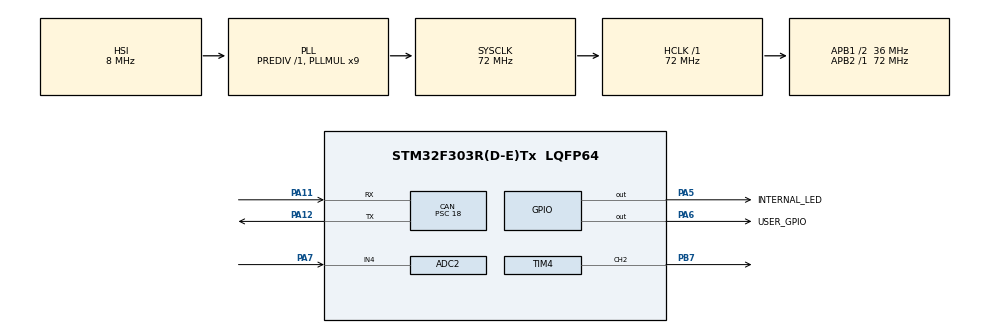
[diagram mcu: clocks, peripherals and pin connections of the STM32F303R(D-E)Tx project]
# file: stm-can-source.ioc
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ADC1.Channel-1\#ChannelRegularConversion=ADC_CHANNEL_TEMPSENSOR
ADC1.Channel-3\#ChannelRegularConversion=ADC_CHANNEL_VREFINT
ADC1.ContinuousConvMode=ENABLE
ADC1.DMAContinuousRequests=ENABLE
ADC1.EnableRegularConversion=ENABLE
ADC1.ExternalTrigConv=ADC_SOFTWARE_START
ADC1.InjNumberOfConversion=0
ADC1.NbrOfConversion=2
ADC1.NbrOfConversionFlag=1
ADC1.Offset-1\#ChannelRegularConversion=0
ADC1.Offset-3\#ChannelRegularConversion=0
ADC1.OffsetNumber-1\#ChannelRegularConversion=ADC_OFFSET_NONE
ADC1.OffsetNumber-3\#ChannelRegularConversion=ADC_OFFSET_NONE
ADC1.Rank-1\#ChannelRegularConversion=1
ADC1.Rank-3\#ChannelRegularConversion=2
ADC1.SamplingTime-1\#ChannelRegularConversion=ADC_SAMPLETIME_601CYCLES_5
ADC1.SamplingTime-3\#ChannelRegularConversion=ADC_SAMPLETIME_601CYCLES_5
ADC1.master=1
ADC2.Channel-0\#ChannelRegularConversion=ADC_CHANNEL_4
ADC2.ContinuousConvMode=ENABLE
ADC2.DMAContinuousRequests=ENABLE
ADC2.NbrOfConversionFlag=1
ADC2.Offset-0\#ChannelRegularConversion=0
ADC2.OffsetNumber-0\#ChannelRegularConversion=ADC_OFFSET_NONE
ADC2.Rank-0\#ChannelRegularConversion=1
ADC2.SamplingTime-0\#ChannelRegularConversion=ADC_SAMPLETIME_601CYCLES_5
ADC2.SamplingTimeOPAMP-0\#ChannelRegularConversion=ADC_SAMPLETIME_61CYCLES_5
CAN.BS1=CAN_BS1_2TQ
CAN.CalculateBaudRate=500000
CAN.CalculateTimeBit=2000
CAN.CalculateTimeQuantum=500.0
CAN.Mode=CAN_MODE_NORMAL
CAN.NART=DISABLE
CAN.Prescaler=18
Dma.ADC1.0.Direction=DMA_PERIPH_TO_MEMORY
Dma.ADC1.0.Instance=DMA1_Channel1
Dma.ADC1.0.MemDataAlignment=DMA_MDATAALIGN_HALFWORD
Dma.ADC1.0.MemInc=DMA_MINC_ENABLE
Dma.ADC1.0.Mode=DMA_CIRCULAR
Dma.ADC1.0.PeriphDataAlignment=DMA_PDATAALIGN_HALFWORD
Dma.ADC1.0.PeriphInc=DMA_PINC_DISABLE
Dma.ADC1.0.Priority=DMA_PRIORITY_LOW
Dma.ADC2.1.Direction=DMA_PERIPH_TO_MEMORY
Dma.ADC2.1.Instance=DMA2_Channel1
Dma.ADC2.1.MemDataAlignment=DMA_MDATAALIGN_HALFWORD
Dma.ADC2.1.MemInc=DMA_MINC_ENABLE
Dma.ADC2.1.Mode=DMA_CIRCULAR
Dma.ADC2.1.PeriphDataAlignment=DMA_PDATAALIGN_HALFWORD
Dma.ADC2.1.PeriphInc=DMA_PINC_DISABLE
Dma.ADC2.1.Priority=DMA_PRIORITY_LOW
Dma.Request0=ADC1
Dma.Request1=ADC2
Mcu.Family=STM32F3
Mcu.Name=STM32F303R(D-E)Tx
Mcu.Package=LQFP64
NVIC.ADC1_2_IRQn=true\:2\:0\:true\:false\:true\:true\:true\:true
NVIC.CAN_RX1_IRQn=true\:0\:0\:true\:false\:true\:true\:true\:true
NVIC.CAN_SCE_IRQn=true\:0\:0\:false\:false\:true\:true\:true\:true
NVIC.DMA1_Channel1_IRQn=true\:0\:0\:false\:false\:true\:false\:true\:true
NVIC.DMA2_Channel1_IRQn=true\:0\:0\:false\:false\:true\:false\:true\:true
NVIC.PriorityGroup=NVIC_PRIORITYGROUP_4
NVIC.TIM1_UP_TIM16_IRQn=true\:0\:0\:true\:false\:true\:true\:true\:true
NVIC.USB_LP_CAN_RX0_IRQn=true\:0\:0\:false\:false\:true\:true\:true\:true
PA11.GPIO_PuPd=GPIO_NOPULL
PA11.Mode=CAN_Activate
PA11.Signal=CAN_RX
PA12.GPIO_PuPd=GPIO_NOPULL
PA12.Mode=CAN_Activate
PA12.Signal=CAN_TX
PA13.Mode=Serial_Wire
PA13.Signal=SYS_JTMS-SWDIO
PA14.Mode=Serial_Wire
PA14.Signal=SYS_JTCK-SWCLK
PA5.GPIO_Label=INTERNAL_LED
PA5.Signal=GPIO_Output
PA6.GPIO_Label=USER_GPIO
PA6.Signal=GPIO_Output
PA7.Mode=IN4-Single-Ended
PA7.Signal=ADC2_IN4
PB7.GPIO_FM7=__NULL
PB7.Signal=S_TIM4_CH2
ProjectManager.HeapSize=0x200
ProjectManager.StackSize=0x400
ProjectManager.TargetToolchain=STM32CubeIDE
RCC.AHBFreq_Value=72000000
RCC.APB1CLKDivider=RCC_HCLK_DIV2
RCC.APB1Freq_Value=36000000
RCC.APB1TimFreq_Value=72000000
RCC.APB2Freq_Value=72000000
RCC.APB2TimFreq_Value=72000000
RCC.CortexFreq_Value=72000000
RCC.HCLKFreq_Value=72000000
RCC.HSE_VALUE=8000000
RCC.HSI_VALUE=8000000
RCC.LSE_VALUE=32768
RCC.PLLMUL=RCC_PLL_MUL9
RCC.SYSCLKFreq_VALUE=72000000
RCC.SYSCLKSourceVirtual=RCC_SYSCLKSOURCE_PLLCLK
RCC.USBFreq_Value=72000000
SH.S_TIM4_CH2.0=TIM4_CH2,PWM Generation2 CH2
TIM16.Period=6000-1
TIM16.Prescaler=3000-1
TIM3.Prescaler=72-1
TIM3.TIM_MasterOutputTrigger=TIM_TRGO_UPDATE
TIM4.Channel-PWM\ Generation2\ CH2=TIM_CHANNEL_2
TIM4.Period=250-1
TIM4.Prescaler=2880-1
VP_ADC1_TempSens_Input.Mode=IN-TempSens
VP_ADC1_Vref_Input.Mode=IN-Vrefint
VP_TIM16_VS_ClockSourceINT.Mode=Enable_Timer
VP_TIM3_VS_ClockSourceINT.Mode=Internal
board=custom

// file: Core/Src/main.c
/* USER CODE BEGIN Header */
/**
  ******************************************************************************
  * @file           : main.c
  * @brief          : Main program body
  ******************************************************************************
  * @attention
  *
  * Copyright (c) 2023 STMicroelectronics.
  * All rights reserved.
  *
  * This software is licensed under terms that can be found in the LICENSE file
  * in the root directory of this software component.
  * If no LICENSE file comes with this software, it is provided AS-IS.
  *
  ******************************************************************************
  */
/* USER CODE END Header */
#include "main.h"

/* USER CODE BEGIN Includes */
#include <stdlib.h>
#include <string.h>
#include <math.h>
/* USER CODE END Includes */

/* USER CODE BEGIN PD */
#define ADC_SAMPLES 	10u
#define ADC_BUF_LEN 	2u
#define MSG_BUFFER_SIZE 8u
#define ADC_RES 		4096.0f
#define REF_VOL 		3.33f
#define VOLT_AT_T25		1.43f
#define AVG_SLOPE		4.30f
#define TEMP_CONST		25.0f
#define INTERNAL_VOLT   1.21f

typedef enum{
  SPEED_125_KBITS,
  SPEED_250_KBITS,
  SPEED_500_KBITS,
  SPEED_1000_KBITS

}can_speed_t;

/* USER CODE END PD */

ADC_HandleTypeDef hadc1;
ADC_HandleTypeDef hadc2;
DMA_HandleTypeDef hdma_adc1;
DMA_HandleTypeDef hdma_adc2;

CAN_HandleTypeDef hcan;

TIM_HandleTypeDef htim3;
TIM_HandleTypeDef htim4;
TIM_HandleTypeDef htim16;

/* USER CODE BEGIN PV */

CAN_TxHeaderTypeDef TxHeader;
CAN_RxHeaderTypeDef RxHeader;
CAN_RxHeaderTypeDef OpHeader;
CAN_TxHeaderTypeDef heartbeat_msgTxHeader;

uint32_t TxMailbox;
uint8_t TxData[MSG_BUFFER_SIZE] = {0u};
uint8_t RxData[MSG_BUFFER_SIZE] = {0u};
uint8_t OpData[MSG_BUFFER_SIZE] = {0u};
uint8_t can_status = 0u;
uint8_t heartbeat[MSG_BUFFER_SIZE] = {0u};
uint8_t nodeId = 0x05u;
uint16_t internalData[ADC_BUF_LEN];
uint16_t adcData[ADC_BUF_LEN];
uint16_t opAdcData[ADC_BUF_LEN];
uint8_t canSpeedOnStartup __attribute__ ((section (".no_init")));;
uint8_t timerHandler = 0u;
uint8_t cyclicMessage = 0u;
uint8_t pwmValue = 0u;

/* USER CODE END PV */

void SystemClock_Config(void);
static void MX_GPIO_Init(void);
static void MX_DMA_Init(void);
static void MX_CAN_Init(void);
static void MX_TIM16_Init(void);
static void MX_ADC1_Init(void);
static void MX_TIM3_Init(void);
static void MX_TIM4_Init(void);
static void MX_ADC2_Init(void);

/* USER CODE BEGIN 0 */

uint8_t usBuildAdc_message(){
	memcpy(opAdcData, adcData, ADC_BUF_LEN);
	TxData[0] = (opAdcData[0] >> 0) & 0xFF;
	TxData[1] = (opAdcData[0] >> 8) & 0xFF;

	TxHeader.DLC = 0x02;
	TxHeader.ExtId = 0;
	TxHeader.IDE = CAN_ID_STD;
	TxHeader.RTR = CAN_RTR_DATA;
	TxHeader.StdId = 200 + nodeId;
	TxHeader.TransmitGlobalTime = DISABLE;
	return HAL_CAN_AddTxMessage(&hcan, &TxHeader, TxData, &TxMailbox);

}

uint8_t usHeartbeat_message(){

	return HAL_CAN_AddTxMessage(&hcan, &heartbeat_msgTxHeader, heartbeat, &TxMailbox);
}

uint8_t usGetTemperatureValue(){

	return (uint8_t)roundf((VOLT_AT_T25 - ((float)internalData[0] * REF_VOL/ADC_RES))/AVG_SLOPE + TEMP_CONST);

}

uint8_t usGetRefVoltValue(){

	return (uint8_t)(((REF_VOL * (float)internalData[1])/ADC_RES) * 100.0f);
}

void HAL_TIM_PeriodElapsedCallback(TIM_HandleTypeDef *htim)
{
  if (htim == &htim16) {
	  if(cyclicMessage){
		  can_status += usBuildAdc_message();
	  }
	  if(timerHandler % 2 == 0){
		  can_status += usHeartbeat_message();
	  }

	  if(timerHandler == 3 ){
		  timerHandler = 0;
	  } else{
		  timerHandler++;
	  }

  }

}

void vBuildTxMessage(CAN_HandleTypeDef *hcan, uint32_t msg_id, uint16_t data){

	memset(TxData, 0, MSG_BUFFER_SIZE);
	TxData[0] = (data >> 0) & 0xFF;
	if(data > 0xFF){
		TxData[1] = (data >> 8) & 0xFF;
		TxHeader.DLC = 0x02;
	} else{
		TxHeader.DLC = 0x01;
	}

	TxHeader.ExtId = 0;
	TxHeader.IDE = CAN_ID_STD;
	TxHeader.RTR = CAN_RTR_DATA;
	TxHeader.StdId = msg_id + nodeId;
	TxHeader.TransmitGlobalTime = DISABLE;
	can_status += HAL_CAN_AddTxMessage(hcan, &TxHeader, &TxData[0], &TxMailbox);
}

void HAL_CAN_RxFifo0MsgPendingCallback(CAN_HandleTypeDef *hcan)
{
	can_status = HAL_CAN_GetRxMessage(hcan, CAN_RX_FIFO0, &RxHeader, RxData);
	switch(RxHeader.StdId){
	case 0x100:
		NVIC_SystemReset();
		break;
	case 0x200:
		if(RxData[0] == 0xFF){
			can_status += usBuildAdc_message();
		}
		break;

	case 0x250:
		if(RxData[0] >= 0 && RxData[0] <= 1){
			cyclicMessage = RxData[0];
		}else if(RxData[0] == 0xFF){
			RxData[0] = cyclicMessage;
		}
		vBuildTxMessage(hcan, RxHeader.StdId, RxData[0]);
		break;

	case 0x300:
		if(RxData[0] >= 0 && RxData[0] <= 250){
			pwmValue = (uint8_t)RxData[0];
		   __HAL_TIM_SET_COMPARE(&htim4, TIM_CHANNEL_2, pwmValue);
		} else if(RxData[0] == 0xFF){
			RxData[0] = pwmValue;
		}
		vBuildTxMessage(hcan, RxHeader.StdId, RxData[0]);
		break;

	case 0x350:
		if(RxData[0] >= 0 && RxData[0] <= 1){
			HAL_GPIO_WritePin(INTERNAL_LED_GPIO_Port, INTERNAL_LED_Pin, RxData[0]);
		}
		else if(RxData[0] == 0xFF){
			RxData[0] = HAL_GPIO_ReadPin(INTERNAL_LED_GPIO_Port, INTERNAL_LED_Pin);

		}
		vBuildTxMessage(hcan, RxHeader.StdId, RxData[0]);
		break;

	case 0x400:
		if(RxData[0] == 0xFF){

			vBuildTxMessage(hcan, 0x200, adcData[0]);
			vBuildTxMessage(hcan, 0x600, canSpeedOnStartup);
			vBuildTxMessage(hcan, 0x650, usGetRefVoltValue());
		}
		break;

	case 0x500:
		if(RxData[0] == 0xFF){
			vBuildTxMessage(hcan, RxHeader.StdId, usGetTemperatureValue());
		}

		break;

	case 0x550:
		if(RxData[0] >= 0 && RxData[0] <= 1){
			HAL_GPIO_WritePin(USER_GPIO_GPIO_Port, USER_GPIO_Pin, RxData[0]);
		}
		else if(RxData[0] == 0xFF){
			RxData[0] = HAL_GPIO_ReadPin(USER_GPIO_GPIO_Port, USER_GPIO_Pin);
		}
		vBuildTxMessage(hcan, RxHeader.StdId, RxData[0]);
		break;

	case 0x600:
		if(RxData[0] >= 0 && RxData[0] <= 3){
			canSpeedOnStartup = (uint8_t)RxData[0];
		} else if(RxData[0] == 0xFF){
			RxData[0] = canSpeedOnStartup;
		}
		else {
			RxData[0] = 0x80;
		}
		vBuildTxMessage(hcan, RxHeader.StdId, RxData[0]);
		break;

	case 0x650:
		if(RxData[0] == 0xFF){
			vBuildTxMessage(hcan, 0x650, usGetRefVoltValue());
		}
		break;

	default:
		break;

	}
	memset(RxData, 0, MSG_BUFFER_SIZE);

}

void vCan_messages_init(){

	heartbeat_msgTxHeader.DLC = 0x00;
	heartbeat_msgTxHeader.ExtId = 0;
	heartbeat_msgTxHeader.IDE = CAN_ID_STD;
	heartbeat_msgTxHeader.RTR = CAN_RTR_DATA;
	heartbeat_msgTxHeader.StdId = 0x700 + nodeId;
	heartbeat_msgTxHeader.TransmitGlobalTime = DISABLE;

	TxHeader.DLC = 0x00;
	TxHeader.ExtId = 0;
	TxHeader.IDE = CAN_ID_STD;
	TxHeader.RTR = CAN_RTR_DATA;
	TxHeader.StdId = 0x00;
	TxHeader.TransmitGlobalTime = DISABLE;

}

void setCanSpeed(can_speed_t canSpeed){

	hcan.Instance = CAN;
	switch(canSpeed){

	case SPEED_125_KBITS:
		hcan.Init.Prescaler = 72u;
		break;

	case SPEED_250_KBITS:
		hcan.Init.Prescaler = 36u;
		break;

	case SPEED_500_KBITS:
		hcan.Init.Prescaler = 18u;
		break;

	case SPEED_1000_KBITS:
		hcan.Init.Prescaler = 9u;
		break;

	default:
		hcan.Init.Prescaler = 18u;
		canSpeedOnStartup = 2u;
		break;
	}

	hcan.Init.Mode = CAN_MODE_NORMAL;
	hcan.Init.SyncJumpWidth = CAN_SJW_1TQ;
	hcan.Init.TimeSeg1 = CAN_BS1_2TQ;
	hcan.Init.TimeSeg2 = CAN_BS2_1TQ;
	hcan.Init.TimeTriggeredMode = DISABLE;
	hcan.Init.AutoBusOff = DISABLE;
	hcan.Init.AutoWakeUp = DISABLE;
	hcan.Init.AutoRetransmission = DISABLE;
	hcan.Init.ReceiveFifoLocked = DISABLE;
	hcan.Init.TransmitFifoPriority = DISABLE;
	if (HAL_CAN_Init(&hcan) != HAL_OK)
	{
		Error_Handler();
	}

}

void vLedStartup(){
	for (uint8_t i = 0u; i < 5u; i++) {
		HAL_GPIO_TogglePin(INTERNAL_LED_GPIO_Port, INTERNAL_LED_Pin);
		HAL_Delay(50);
	}
	HAL_GPIO_WritePin(INTERNAL_LED_GPIO_Port, INTERNAL_LED_Pin, GPIO_PIN_RESET);

}

/* USER CODE END 0 */

int main(void)
{

  /* MCU Configuration--------------------------------------------------------*/

  /* Reset of all peripherals, Initializes the Flash interface and the Systick. */
  HAL_Init();

  /* Configure the system clock */
  SystemClock_Config();

  /* Initialize all configured peripherals */
  MX_GPIO_Init();
  MX_DMA_Init();
  MX_CAN_Init();
  MX_TIM16_Init();
  MX_ADC1_Init();
  MX_TIM3_Init();
  MX_TIM4_Init();
  MX_ADC2_Init();
  /* USER CODE BEGIN 2 */

  vLedStartup();

  can_status += HAL_CAN_Start(&hcan);
  can_status += HAL_CAN_ActivateNotification(&hcan, CAN_IT_RX_FIFO0_MSG_PENDING);
  HAL_TIM_Base_Start_IT(&htim16);

  HAL_ADCEx_Calibration_Start(&hadc1, ADC_SINGLE_ENDED);
  HAL_ADC_Start_DMA(&hadc1, (uint32_t*)internalData, ADC_BUF_LEN);

  HAL_ADCEx_Calibration_Start(&hadc2, ADC_SINGLE_ENDED);
  HAL_ADC_Start_DMA(&hadc2, (uint32_t*)adcData, ADC_BUF_LEN);

  HAL_TIM_PWM_Start(&htim4, TIM_CHANNEL_2);

  vCan_messages_init();
  /* USER CODE END 2 */

  /* Infinite loop */
  while (1)
  {

  }
}

void SystemClock_Config(void)
{
  RCC_OscInitTypeDef RCC_OscInitStruct = {0};
  RCC_ClkInitTypeDef RCC_ClkInitStruct = {0};
  RCC_PeriphCLKInitTypeDef PeriphClkInit = {0};

  /** Initializes the RCC Oscillators according to the specified parameters
  * in the RCC_OscInitTypeDef structure.
  */
  RCC_OscInitStruct.OscillatorType = RCC_OSCILLATORTYPE_HSI;
  RCC_OscInitStruct.HSIState = RCC_HSI_ON;
  RCC_OscInitStruct.HSICalibrationValue = RCC_HSICALIBRATION_DEFAULT;
  RCC_OscInitStruct.PLL.PLLState = RCC_PLL_ON;
  RCC_OscInitStruct.PLL.PLLSource = RCC_PLLSOURCE_HSI;
  RCC_OscInitStruct.PLL.PLLMUL = RCC_PLL_MUL9;
  RCC_OscInitStruct.PLL.PREDIV = RCC_PREDIV_DIV1;
  if (HAL_RCC_OscConfig(&RCC_OscInitStruct) != HAL_OK)
  {
    Error_Handler();
  }

  /** Initializes the CPU, AHB and APB buses clocks
  */
  RCC_ClkInitStruct.ClockType = RCC_CLOCKTYPE_HCLK|RCC_CLOCKTYPE_SYSCLK
                              |RCC_CLOCKTYPE_PCLK1|RCC_CLOCKTYPE_PCLK2;
  RCC_ClkInitStruct.SYSCLKSource = RCC_SYSCLKSOURCE_PLLCLK;
  RCC_ClkInitStruct.AHBCLKDivider = RCC_SYSCLK_DIV1;
  RCC_ClkInitStruct.APB1CLKDivider = RCC_HCLK_DIV2;
  RCC_ClkInitStruct.APB2CLKDivider = RCC_HCLK_DIV1;

  if (HAL_RCC_ClockConfig(&RCC_ClkInitStruct, FLASH_LATENCY_2) != HAL_OK)
  {
    Error_Handler();
  }
  PeriphClkInit.PeriphClockSelection = RCC_PERIPHCLK_TIM16|RCC_PERIPHCLK_ADC12
                              |RCC_PERIPHCLK_TIM34;
  PeriphClkInit.Adc12ClockSelection = RCC_ADC12PLLCLK_DIV1;
  PeriphClkInit.Tim16ClockSelection = RCC_TIM16CLK_HCLK;
  PeriphClkInit.Tim34ClockSelection = RCC_TIM34CLK_HCLK;
  if (HAL_RCCEx_PeriphCLKConfig(&PeriphClkInit) != HAL_OK)
  {
    Error_Handler();
  }
}

static void MX_ADC1_Init(void)
{

  ADC_MultiModeTypeDef multimode = {0};
  ADC_ChannelConfTypeDef sConfig = {0};

  /** Common config
  */
  hadc1.Instance = ADC1;
  hadc1.Init.ClockPrescaler = ADC_CLOCK_ASYNC_DIV1;
  hadc1.Init.Resolution = ADC_RESOLUTION_12B;
  hadc1.Init.ScanConvMode = ADC_SCAN_ENABLE;
  hadc1.Init.ContinuousConvMode = ENABLE;
  hadc1.Init.DiscontinuousConvMode = DISABLE;
  hadc1.Init.ExternalTrigConvEdge = ADC_EXTERNALTRIGCONVEDGE_NONE;
  hadc1.Init.ExternalTrigConv = ADC_SOFTWARE_START;
  hadc1.Init.DataAlign = ADC_DATAALIGN_RIGHT;
  hadc1.Init.NbrOfConversion = 2;
  hadc1.Init.DMAContinuousRequests = ENABLE;
  hadc1.Init.EOCSelection = ADC_EOC_SINGLE_CONV;
  hadc1.Init.LowPowerAutoWait = DISABLE;
  hadc1.Init.Overrun = ADC_OVR_DATA_OVERWRITTEN;
  if (HAL_ADC_Init(&hadc1) != HAL_OK)
  {
    Error_Handler();
  }

  /** Configure the ADC multi-mode
  */
  multimode.Mode = ADC_MODE_INDEPENDENT;
  if (HAL_ADCEx_MultiModeConfigChannel(&hadc1, &multimode) != HAL_OK)
  {
    Error_Handler();
  }

  /** Configure Regular Channel
  */
  sConfig.Channel = ADC_CHANNEL_TEMPSENSOR;
  sConfig.Rank = ADC_REGULAR_RANK_1;
  sConfig.SingleDiff = ADC_SINGLE_ENDED;
  sConfig.SamplingTime = ADC_SAMPLETIME_601CYCLES_5;
  sConfig.OffsetNumber = ADC_OFFSET_NONE;
  sConfig.Offset = 0;
  if (HAL_ADC_ConfigChannel(&hadc1, &sConfig) != HAL_OK)
  {
    Error_Handler();
  }

  /** Configure Regular Channel
  */
  sConfig.Channel = ADC_CHANNEL_VREFINT;
  sConfig.Rank = ADC_REGULAR_RANK_2;
  if (HAL_ADC_ConfigChannel(&hadc1, &sConfig) != HAL_OK)
  {
    Error_Handler();
  }

}

static void MX_ADC2_Init(void)
{

  ADC_ChannelConfTypeDef sConfig = {0};

  /** Common config
  */
  hadc2.Instance = ADC2;
  hadc2.Init.ClockPrescaler = ADC_CLOCK_ASYNC_DIV1;
  hadc2.Init.Resolution = ADC_RESOLUTION_12B;
  hadc2.Init.ScanConvMode = ADC_SCAN_DISABLE;
  hadc2.Init.ContinuousConvMode = ENABLE;
  hadc2.Init.DiscontinuousConvMode = DISABLE;
  hadc2.Init.ExternalTrigConvEdge = ADC_EXTERNALTRIGCONVEDGE_NONE;
  hadc2.Init.ExternalTrigConv = ADC_SOFTWARE_START;
  hadc2.Init.DataAlign = ADC_DATAALIGN_RIGHT;
  hadc2.Init.NbrOfConversion = 1;
  hadc2.Init.DMAContinuousRequests = ENABLE;
  hadc2.Init.EOCSelection = ADC_EOC_SINGLE_CONV;
  hadc2.Init.LowPowerAutoWait = DISABLE;
  hadc2.Init.Overrun = ADC_OVR_DATA_OVERWRITTEN;
  if (HAL_ADC_Init(&hadc2) != HAL_OK)
  {
    Error_Handler();
  }

  /** Configure Regular Channel
  */
  sConfig.Channel = ADC_CHANNEL_4;
  sConfig.Rank = ADC_REGULAR_RANK_1;
  sConfig.SingleDiff = ADC_SINGLE_ENDED;
  sConfig.SamplingTime = ADC_SAMPLETIME_601CYCLES_5;
  sConfig.OffsetNumber = ADC_OFFSET_NONE;
  sConfig.Offset = 0;
  if (HAL_ADC_ConfigChannel(&hadc2, &sConfig) != HAL_OK)
  {
    Error_Handler();
  }

}

static void MX_CAN_Init(void)
{

  /* USER CODE BEGIN CAN_Init 0 */
	setCanSpeed(canSpeedOnStartup);

  /* USER CODE END CAN_Init 0 */

	/*
  hcan.Instance = CAN;
  hcan.Init.Prescaler = 18;
  hcan.Init.Mode = CAN_MODE_NORMAL;
  hcan.Init.SyncJumpWidth = CAN_SJW_1TQ;
  hcan.Init.TimeSeg1 = CAN_BS1_2TQ;
  hcan.Init.TimeSeg2 = CAN_BS2_1TQ;
  hcan.Init.TimeTriggeredMode = DISABLE;
  hcan.Init.AutoBusOff = DISABLE;
  hcan.Init.AutoWakeUp = DISABLE;
  hcan.Init.AutoRetransmission = DISABLE;
  hcan.Init.ReceiveFifoLocked = DISABLE;
  hcan.Init.TransmitFifoPriority = DISABLE;
  if (HAL_CAN_Init(&hcan) != HAL_OK)
  {
    Error_Handler();
  }
  */
  /* USER CODE BEGIN CAN_Init 2 */

  CAN_FilterTypeDef can_filter_config;

  can_filter_config.FilterActivation = CAN_FILTER_ENABLE;
  can_filter_config.FilterBank = 10;
  can_filter_config.FilterFIFOAssignment = CAN_RX_FIFO0;
  can_filter_config.FilterIdHigh = 0;
  can_filter_config.FilterIdLow = 0x0000;
  can_filter_config.FilterMaskIdHigh = 0;			// decides which bits in id should be compared
  can_filter_config.FilterMaskIdLow = 0x0000;
  can_filter_config.FilterMode = CAN_FILTERMODE_IDMASK;
  can_filter_config.FilterScale = CAN_FILTERSCALE_32BIT;
  can_filter_config.SlaveStartFilterBank = 0;

  HAL_CAN_ConfigFilter(&hcan, &can_filter_config);

  /* USER CODE END CAN_Init 2 */

}

static void MX_TIM3_Init(void)
{

  TIM_ClockConfigTypeDef sClockSourceConfig = {0};
  TIM_MasterConfigTypeDef sMasterConfig = {0};

  htim3.Instance = TIM3;
  htim3.Init.Prescaler = 72-1;
  htim3.Init.CounterMode = TIM_COUNTERMODE_UP;
  htim3.Init.Period = 65535;
  htim3.Init.ClockDivision = TIM_CLOCKDIVISION_DIV1;
  htim3.Init.AutoReloadPreload = TIM_AUTORELOAD_PRELOAD_DISABLE;
  if (HAL_TIM_Base_Init(&htim3) != HAL_OK)
  {
    Error_Handler();
  }
  sClockSourceConfig.ClockSource = TIM_CLOCKSOURCE_INTERNAL;
  if (HAL_TIM_ConfigClockSource(&htim3, &sClockSourceConfig) != HAL_OK)
  {
    Error_Handler();
  }
  sMasterConfig.MasterOutputTrigger = TIM_TRGO_UPDATE;
  sMasterConfig.MasterSlaveMode = TIM_MASTERSLAVEMODE_DISABLE;
  if (HAL_TIMEx_MasterConfigSynchronization(&htim3, &sMasterConfig) != HAL_OK)
  {
    Error_Handler();
  }

}

static void MX_TIM4_Init(void)
{

  TIM_MasterConfigTypeDef sMasterConfig = {0};
  TIM_OC_InitTypeDef sConfigOC = {0};

  htim4.Instance = TIM4;
  htim4.Init.Prescaler = 2880-1;
  htim4.Init.CounterMode = TIM_COUNTERMODE_UP;
  htim4.Init.Period = 250-1;
  htim4.Init.ClockDivision = TIM_CLOCKDIVISION_DIV1;
  htim4.Init.AutoReloadPreload = TIM_AUTORELOAD_PRELOAD_DISABLE;
  if (HAL_TIM_PWM_Init(&htim4) != HAL_OK)
  {
    Error_Handler();
  }
  sMasterConfig.MasterOutputTrigger = TIM_TRGO_RESET;
  sMasterConfig.MasterSlaveMode = TIM_MASTERSLAVEMODE_DISABLE;
  if (HAL_TIMEx_MasterConfigSynchronization(&htim4, &sMasterConfig) != HAL_OK)
  {
    Error_Handler();
  }
  sConfigOC.OCMode = TIM_OCMODE_PWM1;
  sConfigOC.Pulse = 0;
  sConfigOC.OCPolarity = TIM_OCPOLARITY_HIGH;
  sConfigOC.OCFastMode = TIM_OCFAST_DISABLE;
  if (HAL_TIM_PWM_ConfigChannel(&htim4, &sConfigOC, TIM_CHANNEL_2) != HAL_OK)
  {
    Error_Handler();
  }
  HAL_TIM_MspPostInit(&htim4);

}

static void MX_TIM16_Init(void)
{

  htim16.Instance = TIM16;
  htim16.Init.Prescaler = 3000-1;
  htim16.Init.CounterMode = TIM_COUNTERMODE_UP;
  htim16.Init.Period = 6000-1;
  htim16.Init.ClockDivision = TIM_CLOCKDIVISION_DIV1;
  htim16.Init.RepetitionCounter = 0;
  htim16.Init.AutoReloadPreload = TIM_AUTORELOAD_PRELOAD_DISABLE;
  if (HAL_TIM_Base_Init(&htim16) != HAL_OK)
  {
    Error_Handler();
  }

}

static void MX_DMA_Init(void)
{

  /* DMA controller clock enable */
  __HAL_RCC_DMA1_CLK_ENABLE();
  __HAL_RCC_DMA2_CLK_ENABLE();

  /* DMA interrupt init */
  /* DMA1_Channel1_IRQn interrupt configuration */
  HAL_NVIC_SetPriority(DMA1_Channel1_IRQn, 0, 0);
  HAL_NVIC_EnableIRQ(DMA1_Channel1_IRQn);
  /* DMA2_Channel1_IRQn interrupt configuration */
  HAL_NVIC_SetPriority(DMA2_Channel1_IRQn, 0, 0);
  HAL_NVIC_EnableIRQ(DMA2_Channel1_IRQn);

}

static void MX_GPIO_Init(void)
{
  GPIO_InitTypeDef GPIO_InitStruct = {0};

  /* GPIO Ports Clock Enable */
  __HAL_RCC_GPIOA_CLK_ENABLE();
  __HAL_RCC_GPIOB_CLK_ENABLE();

  /*Configure GPIO pin Output Level */
  HAL_GPIO_WritePin(GPIOA, INTERNAL_LED_Pin|USER_GPIO_Pin, GPIO_PIN_RESET);

  /*Configure GPIO pins : INTERNAL_LED_Pin USER_GPIO_Pin */
  GPIO_InitStruct.Pin = INTERNAL_LED_Pin|USER_GPIO_Pin;
  GPIO_InitStruct.Mode = GPIO_MODE_OUTPUT_PP;
  GPIO_InitStruct.Pull = GPIO_NOPULL;
  GPIO_InitStruct.Speed = GPIO_SPEED_FREQ_LOW;
  HAL_GPIO_Init(GPIOA, &GPIO_InitStruct);

}

void Error_Handler(void)
{
  __disable_irq();
  while (1)
  {
  }
}
